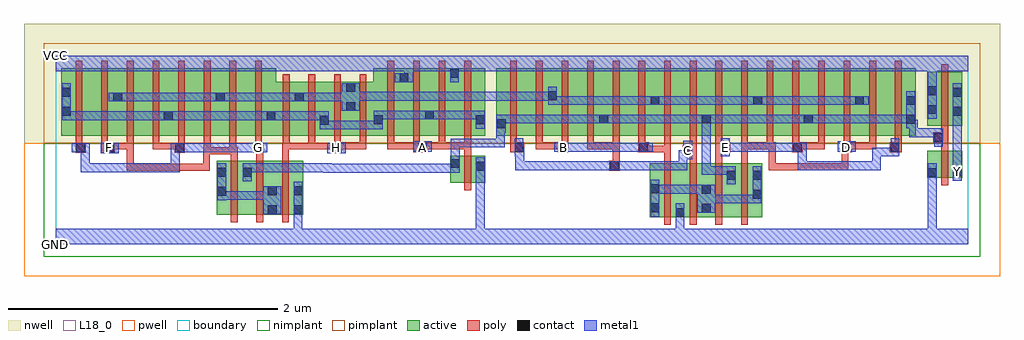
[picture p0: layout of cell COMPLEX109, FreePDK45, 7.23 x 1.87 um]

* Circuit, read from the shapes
.subckt COMPLEX109 A B C D E F G GND H VCC Y
M1 n1 F n2 VSUBS nfet w=0.4u l=0.05u
M2 n2 G n1 VSUBS nfet w=0.4u l=0.05u
M3 GND H n2 VSUBS nfet w=0.4u l=0.05u
M4 GND A n1 VSUBS nfet w=0.2u l=0.05u
M5 GND B n3 VSUBS nfet w=0.4u l=0.05u
M6 n3 C GND VSUBS nfet w=0.4u l=0.05u
M7 n1 E n3 VSUBS nfet w=0.4u l=0.05u
M8 n3 D n1 VSUBS nfet w=0.4u l=0.05u
M9 Y n1 GND VSUBS nfet w=0.2u l=0.05u
M10 n4 G n5 n6 pfet w=0.5u l=0.05u
M11 n7 F n4 n6 pfet w=0.5u l=0.05u
M12 n8 F n7 n6 pfet w=0.5u l=0.05u
M13 n5 G n8 n6 pfet w=0.5u l=0.05u
M14 n9 G n5 n6 pfet w=0.5u l=0.05u
M15 n7 F n9 n6 pfet w=0.5u l=0.05u
M16 n10 F n7 n6 pfet w=0.5u l=0.05u
M17 n5 G n10 n6 pfet w=0.5u l=0.05u
M18 n7 H n5 n6 pfet w=0.4u l=0.05u m=4
M19 VCC A n5 n6 pfet w=0.5u l=0.05u m=4
M20 n11 C n1 n6 pfet w=0.5u l=0.05u
M21 n7 B n11 n6 pfet w=0.5u l=0.05u
M22 n12 B n7 n6 pfet w=0.5u l=0.05u
M23 n1 C n12 n6 pfet w=0.5u l=0.05u
M24 n13 C n1 n6 pfet w=0.5u l=0.05u
M25 n7 B n13 n6 pfet w=0.5u l=0.05u
M26 n14 B n7 n6 pfet w=0.5u l=0.05u
M27 n1 C n14 n6 pfet w=0.5u l=0.05u
M28 n15 E n1 n6 pfet w=0.5u l=0.05u
M29 n7 D n15 n6 pfet w=0.5u l=0.05u
M30 n16 D n7 n6 pfet w=0.5u l=0.05u
M31 n1 E n16 n6 pfet w=0.5u l=0.05u
M32 n17 E n1 n6 pfet w=0.5u l=0.05u
M33 n7 D n17 n6 pfet w=0.5u l=0.05u
M34 n18 D n7 n6 pfet w=0.5u l=0.05u
M35 n1 E n18 n6 pfet w=0.5u l=0.05u
M36 Y n1 VCC n6 pfet w=0.4u l=0.05u
.ends

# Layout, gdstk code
import gdstk
lib = gdstk.Library(unit=1e-6, precision=1e-09)
def R(c, l, rs):  # rectangles x0, y0, x1, y1
    for r in rs: c.add(gdstk.rectangle(r[:2], r[2:], *l))
def A(c, l, x, y, w, h, nx, ny, dx, dy):  # array of equal rectangles
    R(c, l, [(x+i*dx, y+j*dy, x+i*dx+w, y+j*dy+h) for i in range(nx) for j in range(ny)])
active = (1, 0)
pwell = (2, 0)
nwell = (3, 0)
nimplant = (4, 0)
pimplant = (5, 0)
poly = (9, 0)
contact = (10, 0)
metal1 = (11, 0)
L18_0 = (18, 0)
boundary = (235, 0)

complex109 = lib.new_cell('COMPLEX109')
A(complex109, active, 3.262, 0.807, 0.225, 0.5, 6, 1, 0.38, 0)
A(complex109, active, 3.487, 0.807, 0.23, 0.5, 5, 1, 0.38, 0)
A(complex109, active, 3.642, 0.807, 0.075, 0.393, 3, 1, 0.76, 0)
A(complex109, active, 5.387, 0.807, 0.225, 0.5, 3, 1, 0.38, 0)
R(complex109, active, [(4.402,0.2,4.662,0.6), (4.587,0.2,4.857,0.6), (4.587,0.2,4.662,0.492), (4.782,0.2,5.042,0.6), (4.967,0.2,5.232,0.6), (1.192,0.22,1.457,0.62), (1.382,0.22,1.642,0.62), (1.567,0.22,1.832,0.62), (1.567,0.22,1.642,0.492), (1.757,0.22,1.832,0.62), (4.402,0.232,4.477,0.492), (4.782,0.232,4.857,0.492), (1.192,0.257,1.267,0.62), (5.157,0.257,5.232,0.6), (1.382,0.295,1.457,0.62), (4.967,0.295,5.042,0.6), (2.922,0.457,2.997,0.657), (2.922,0.457,3.182,0.657), (3.107,0.457,3.182,0.657), (6.455,0.495,6.53,0.695), (6.455,0.495,6.715,0.695), (6.64,0.495,6.715,0.695), (0.042,0.805,0.267,1.305), (0.042,0.805,0.147,1.2), (0.267,0.805,0.497,1.305), (0.422,0.805,0.647,1.305), (0.422,0.805,0.497,1.2), (0.647,0.805,0.872,1.305), (0.797,0.805,1.027,1.305), (0.797,0.805,0.872,1.07), (1.027,0.805,1.257,1.305), (1.182,0.805,1.407,1.305), (1.182,0.805,1.257,1.2), (1.407,0.805,1.632,1.305), (1.557,0.807,1.842,1.207), (1.767,0.807,2.027,1.207), (1.767,0.807,1.842,1.2), (1.952,0.807,2.222,1.207), (1.952,0.807,2.027,1.07), (2.147,0.807,2.222,1.2), (2.147,0.807,2.427,1.207), (2.352,0.807,2.427,1.07), (2.352,0.807,2.617,1.307), (2.542,0.807,2.807,1.307), (2.542,0.807,2.617,1.307), (2.732,0.807,2.807,1.07), (2.732,0.807,2.992,1.307), (2.917,0.807,3.182,1.307), (2.917,0.807,2.992,1.307), (3.107,0.807,3.182,1.07), (3.262,0.807,3.367,1.07), (4.022,0.807,4.097,1.07), (4.782,0.807,4.857,1.07), (5.537,0.807,5.767,1.307), (5.537,0.807,5.612,1.07), (5.917,0.807,5.992,1.2), (5.917,0.807,6.147,1.307), (6.297,0.807,6.372,1.2), (6.455,0.88,6.715,1.28), (6.455,0.88,6.53,1.28), (6.64,0.88,6.715,1.2), (1.557,0.907,1.632,1.07)])
R(complex109, pwell, [(-0.235,-0.235,6.995,0.75)])
R(complex109, nwell, [(-0.235,0.75,6.995,1.635)])
R(complex109, nimplant, [(-0.09,-0.09,6.85,0.75)])
R(complex109, pimplant, [(-0.09,0.75,6.85,1.49)])
A(complex109, poly, 4.507, 0.145, 0.05, 0.51, 4, 1, 0.19, 0)
A(complex109, poly, 1.297, 0.165, 0.05, 0.51, 3, 1, 0.19, 0)
A(complex109, poly, 0.147, 0.705, 0.05, 0.095, 5, 1, 0.19, 0)
A(complex109, poly, 2.457, 0.707, 0.05, 0.095, 4, 1, 0.19, 0)
A(complex109, poly, 3.367, 0.707, 0.05, 0.095, 6, 1, 0.19, 0)
A(complex109, poly, 4.887, 0.707, 0.05, 0.095, 8, 1, 0.19, 0)
A(complex109, poly, 0.147, 0.75, 0.05, 0.61, 8, 1, 0.19, 0)
A(complex109, poly, 1.682, 0.752, 0.05, 0.51, 4, 1, 0.19, 0)
A(complex109, poly, 2.457, 0.752, 0.05, 0.61, 4, 1, 0.19, 0)
A(complex109, poly, 3.367, 0.752, 0.05, 0.61, 16, 1, 0.19, 0)
R(complex109, poly, [(3.027,0.402,3.077,0.712), (6.56,0.44,6.61,0.75), (4.102,0.545,4.177,0.62), (0.527,0.547,0.577,0.597), (0.527,0.547,0.577,0.597), (0.527,0.547,0.577,0.597), (0.527,0.547,0.577,0.597), (0.527,0.547,0.577,0.597), (0.527,0.547,0.8,0.597), (0.527,0.547,0.577,0.755), (0.75,0.547,0.8,0.597), (0.75,0.547,0.932,0.597), (0.882,0.547,0.932,0.597), (0.882,0.547,0.932,0.597), (0.882,0.547,0.932,0.597), (0.882,0.547,1.142,0.597), (1.092,0.547,1.142,0.597), (1.092,0.547,1.142,0.597), (1.092,0.547,1.142,0.597), (1.092,0.547,1.142,0.597), (1.092,0.547,1.142,0.597), (1.092,0.547,1.142,0.72), (5.282,0.55,5.332,0.6), (5.282,0.55,5.4,0.6), (5.282,0.55,5.332,0.757), (5.35,0.55,5.4,0.6), (5.35,0.55,5.565,0.6), (5.515,0.55,5.565,0.6), (5.515,0.55,5.565,0.6), (5.515,0.55,5.565,0.6), (5.515,0.55,5.74,0.6), (5.69,0.55,5.74,0.6), (5.69,0.55,5.872,0.6), (5.822,0.55,5.872,0.6), (5.822,0.55,5.872,0.6), (5.822,0.55,5.872,0.6), (5.822,0.55,5.872,0.6), (5.822,0.55,5.872,0.6), (5.822,0.55,5.872,0.732), (4.127,0.57,4.177,0.62), (4.127,0.57,4.177,0.62), (4.127,0.57,4.177,0.757), (4.507,0.605,4.557,0.732), (4.697,0.605,4.747,0.712), (4.887,0.605,4.937,0.732), (5.077,0.605,5.127,0.757), (1.297,0.625,1.347,0.72), (1.487,0.625,1.537,0.73), (1.677,0.625,1.727,0.755), (3.027,0.662,3.077,0.757), (4.645,0.662,4.747,0.737), (1.092,0.67,1.147,0.72), (1.097,0.67,1.332,0.72), (1.097,0.67,1.147,0.8), (1.282,0.67,1.332,0.72), (1.282,0.67,1.332,0.72), (1.282,0.67,1.347,0.72), (1.287,0.67,1.337,0.8), (0.147,0.68,0.222,0.755), (0.337,0.68,0.437,0.755), (0.882,0.68,0.957,0.755), (1.462,0.68,1.537,0.755), (2.042,0.682,2.117,0.757), (2.647,0.682,2.755,0.757), (3.367,0.682,3.47,0.757), (3.722,0.682,3.797,0.757), (4.317,0.682,4.392,0.757), (4.342,0.682,4.392,0.732), (4.342,0.682,4.392,0.732), (4.342,0.682,4.557,0.732), (4.507,0.682,4.557,0.732), (4.507,0.682,4.557,0.802), (4.887,0.682,4.995,0.757), (5.457,0.682,5.532,0.757), (5.822,0.682,5.897,0.757), (6.18,0.682,6.267,0.757), (4.697,0.687,4.747,0.802), (6.56,0.7,6.61,0.805), (0.387,0.705,0.437,0.755), (0.387,0.705,0.437,0.755), (0.387,0.705,0.577,0.755), (0.527,0.705,0.577,0.755), (0.717,0.705,0.767,0.755), (0.717,0.705,0.767,0.755), (0.717,0.705,0.767,0.755), (0.717,0.705,0.932,0.755), (1.477,0.705,1.527,0.8), (1.677,0.705,1.732,0.755), (1.682,0.705,1.732,0.755), (1.682,0.705,1.732,0.755), (1.682,0.705,1.922,0.755), (1.682,0.705,1.732,0.802), (1.872,0.705,1.922,0.755), (1.872,0.705,1.922,0.755), (1.872,0.705,1.922,0.755), (1.872,0.705,2.092,0.755), (1.872,0.705,1.922,0.802), (2.062,0.707,2.112,0.802), (2.067,0.707,2.302,0.757), (2.252,0.707,2.302,0.802), (2.252,0.707,2.302,0.757), (2.252,0.707,2.302,0.757), (2.252,0.707,2.302,0.757), (2.457,0.707,2.507,0.757), (2.457,0.707,2.507,0.757), (2.457,0.707,2.507,0.757), (2.457,0.707,2.697,0.757), (2.705,0.707,2.887,0.757), (2.837,0.707,2.887,0.757), (2.837,0.707,2.887,0.757), (2.837,0.707,2.887,0.757), (2.837,0.707,3.077,0.757), (3.027,0.707,3.077,0.757), (3.027,0.707,3.077,0.757), (3.027,0.707,3.077,0.757), (3.557,0.707,3.607,0.757), (3.557,0.707,3.607,0.757), (3.557,0.707,3.607,0.757), (3.557,0.707,3.772,0.757), (3.937,0.707,3.987,0.757), (3.937,0.707,3.987,0.757), (3.937,0.707,3.987,0.757), (3.937,0.707,4.177,0.757), (4.127,0.707,4.177,0.757), (5.077,0.707,5.127,0.757), (5.077,0.707,5.127,0.757), (5.077,0.707,5.127,0.757), (5.077,0.707,5.317,0.757), (5.267,0.707,5.332,0.757), (5.282,0.707,5.332,0.757), (5.282,0.707,5.332,0.757), (5.482,0.707,5.532,0.757), (5.482,0.707,5.532,0.757), (5.482,0.707,5.697,0.757), (5.647,0.707,5.697,0.757), (5.847,0.707,6.077,0.757), (6.027,0.707,6.077,0.757), (6.027,0.707,6.077,0.757), (6.027,0.707,6.077,0.757), (6.502,0.755,6.61,0.83), (6.56,0.78,6.61,0.875), (6.56,0.825,6.61,1.335)])
R(complex109, contact, [(4.592,0.205,4.657,0.27), (1.572,0.225,1.637,0.29), (1.762,0.225,1.827,0.29), (4.787,0.237,4.852,0.302), (4.407,0.24,4.472,0.305), (5.162,0.34,5.227,0.405), (1.197,0.362,1.262,0.427), (1.572,0.365,1.637,0.43), (1.762,0.365,1.827,0.43), (4.787,0.377,4.852,0.442), (4.407,0.38,4.472,0.445), (4.972,0.48,5.037,0.545), (5.162,0.48,5.227,0.545), (6.46,0.5,6.525,0.565), (1.197,0.502,1.262,0.567), (1.387,0.502,1.452,0.567), (6.645,0.507,6.71,0.572), (3.112,0.547,3.177,0.612), (4.107,0.55,4.172,0.615), (2.927,0.567,2.992,0.632), (4.65,0.667,4.715,0.732), (0.152,0.685,0.217,0.75), (0.367,0.685,0.432,0.75), (0.887,0.685,0.952,0.75), (1.467,0.685,1.532,0.75), (2.047,0.687,2.112,0.752), (2.685,0.687,2.75,0.752), (3.4,0.687,3.465,0.752), (3.727,0.687,3.792,0.752), (4.322,0.687,4.387,0.752), (4.925,0.687,4.99,0.752), (5.462,0.687,5.527,0.752), (5.827,0.687,5.892,0.752), (6.185,0.687,6.25,0.752), (6.507,0.76,6.572,0.825), (3.267,0.862,3.332,0.927), (1.957,0.887,2.022,0.952), (2.357,0.892,2.422,0.957), (3.112,0.892,3.177,0.957), (6.302,0.895,6.367,0.96), (4.027,0.897,4.092,0.962), (4.787,0.897,4.852,0.962), (5.542,0.897,5.607,0.962), (0.802,0.922,0.867,0.987), (1.562,0.922,1.627,0.987), (2.737,0.927,2.802,0.992), (0.047,0.955,0.112,1.02), (6.645,0.955,6.71,1.02), (6.46,0.967,6.525,1.032), (2.152,0.99,2.217,1.055), (4.407,1.035,4.472,1.1), (5.167,1.035,5.232,1.1), (5.922,1.035,5.987,1.1), (6.302,1.035,6.367,1.1), (0.427,1.06,0.492,1.125), (1.187,1.06,1.252,1.125), (1.772,1.06,1.837,1.125), (3.647,1.07,3.712,1.135), (0.047,1.095,0.112,1.16), (6.645,1.095,6.71,1.16), (6.46,1.107,6.525,1.172), (2.152,1.13,2.217,1.195), (2.547,1.202,2.612,1.267), (2.922,1.237,2.987,1.302)])
R(complex109, metal1, [(0,0,6.76,0.115), (1.762,0.05,1.827,0.115), (1.762,0.05,1.827,0.115), (1.762,0.05,1.827,0.255), (3.112,0.05,3.177,0.115), (3.112,0.05,3.177,0.115), (3.112,0.05,3.177,0.115), (3.112,0.05,3.177,0.115), (3.112,0.05,3.177,0.115), (3.112,0.05,3.177,0.115), (3.112,0.05,3.177,0.577), (4.592,0.05,4.657,0.235), (6.46,0.05,6.525,0.115), (6.46,0.05,6.525,0.115), (6.46,0.05,6.525,0.115), (6.46,0.05,6.525,0.115), (6.46,0.05,6.525,0.115), (6.46,0.05,6.525,0.115), (6.46,0.05,6.525,0.53), (4.592,0.17,4.657,0.235), (4.592,0.17,4.657,0.235), (4.592,0.17,4.657,0.305), (1.762,0.19,1.827,0.465), (4.407,0.205,4.472,0.48), (1.537,0.225,1.672,0.43), (4.752,0.237,4.887,0.442), (4.822,0.305,4.992,0.37), (4.927,0.305,4.992,0.37), (4.927,0.305,5.025,0.37), (4.96,0.305,5.025,0.37), (4.96,0.305,5.13,0.37), (5.065,0.305,5.13,0.37), (5.065,0.305,5.227,0.37), (5.162,0.305,5.227,0.58), (1.197,0.327,1.262,0.602), (1.197,0.33,1.262,0.395), (1.197,0.33,1.262,0.395), (1.197,0.33,1.455,0.395), (1.39,0.33,1.455,0.395), (1.39,0.33,1.455,0.395), (1.39,0.33,1.455,0.395), (1.39,0.33,1.602,0.395), (4.407,0.377,4.575,0.442), (4.51,0.377,4.575,0.442), (4.51,0.377,4.68,0.442), (4.615,0.377,4.68,0.442), (4.615,0.377,4.755,0.442), (4.69,0.377,4.755,0.442), (4.69,0.377,4.817,0.442), (4.972,0.445,5.037,0.58), (6.46,0.465,6.525,0.6), (1.387,0.467,1.452,0.602), (6.645,0.472,6.712,0.607), (3.112,0.512,3.177,0.647), (4.787,0.515,4.852,0.58), (4.787,0.515,4.992,0.58), (4.787,0.515,4.852,0.962), (4.927,0.515,4.992,0.58), (4.927,0.515,5.037,0.58), (1.98,0.532,2.182,0.597), (1.98,0.532,2.045,0.602), (2.117,0.532,2.182,0.597), (2.117,0.532,2.182,0.597), (2.117,0.532,2.182,0.597), (2.117,0.532,2.39,0.597), (2.325,0.532,2.39,0.597), (2.325,0.532,2.39,0.597), (2.325,0.532,2.39,0.597), (2.325,0.532,2.56,0.597), (2.495,0.532,2.56,0.597), (2.495,0.532,2.56,0.597), (2.495,0.532,2.56,0.597), (2.495,0.532,2.7,0.597), (2.635,0.532,2.7,0.597), (2.635,0.532,2.7,0.597), (2.635,0.532,2.7,0.597), (2.635,0.532,2.992,0.597), (2.927,0.532,2.992,0.597), (2.927,0.532,2.992,0.597), (2.927,0.532,2.992,0.597), (2.927,0.532,2.992,0.597), (2.927,0.532,2.992,0.667), (0.187,0.537,0.252,0.602), (0.187,0.537,0.39,0.602), (0.187,0.537,0.252,0.75), (0.325,0.537,0.39,0.602), (0.325,0.537,0.527,0.602), (0.462,0.537,0.527,0.602), (0.462,0.537,0.527,0.602), (0.462,0.537,0.527,0.602), (0.462,0.537,0.665,0.602), (0.6,0.537,0.665,0.602), (0.6,0.537,0.665,0.602), (0.6,0.537,0.665,0.602), (0.6,0.537,0.917,0.602), (0.852,0.537,0.917,0.602), (0.852,0.537,0.917,0.75), (1.387,0.537,1.452,0.602), (1.387,0.537,1.452,0.602), (1.387,0.537,1.665,0.602), (1.6,0.537,1.665,0.602), (1.6,0.537,1.665,0.602), (1.6,0.537,1.665,0.602), (1.6,0.537,1.885,0.602), (1.82,0.537,1.885,0.602), (1.82,0.537,1.885,0.602), (1.82,0.537,1.885,0.602), (1.82,0.537,2.045,0.602), (6.645,0.542,6.71,0.985), (6.645,0.542,6.71,0.607), (6.645,0.542,6.71,0.607), (3.405,0.55,3.47,0.615), (3.405,0.55,3.47,0.717), (3.405,0.55,3.607,0.615), (3.542,0.55,3.607,0.615), (3.542,0.55,3.712,0.615), (3.647,0.55,3.712,0.615), (3.647,0.55,3.712,0.615), (3.647,0.55,3.712,0.615), (3.647,0.55,3.745,0.615), (3.68,0.55,3.745,0.615), (3.68,0.55,3.85,0.615), (3.785,0.55,3.85,0.615), (3.785,0.55,3.965,0.615), (3.9,0.55,3.965,0.615), (3.9,0.55,4.137,0.615), (4.072,0.55,4.137,0.615), (4.072,0.55,4.137,0.615), (4.072,0.55,4.207,0.615), (4.142,0.55,4.275,0.615), (4.21,0.55,4.275,0.615), (4.21,0.55,4.275,0.615), (4.21,0.55,4.275,0.615), (4.21,0.55,4.37,0.615), (4.305,0.55,4.37,0.615), (4.305,0.55,4.412,0.615), (4.347,0.55,4.412,0.615), (4.347,0.55,4.575,0.615), (4.51,0.55,4.575,0.615), (4.51,0.55,4.68,0.615), (4.615,0.55,4.68,0.615), (4.615,0.55,4.68,0.697), (5.497,0.55,5.562,0.615), (5.497,0.55,5.72,0.615), (5.497,0.55,5.562,0.752), (5.655,0.55,5.72,0.615), (5.655,0.55,5.78,0.615), (5.715,0.55,5.78,0.615), (5.715,0.55,5.975,0.615), (5.91,0.55,5.975,0.615), (5.91,0.55,5.975,0.615), (5.91,0.55,5.975,0.615), (5.91,0.55,6.112,0.615), (6.047,0.55,6.112,0.615), (6.047,0.55,6.112,0.615), (6.047,0.55,6.112,0.615), (6.047,0.55,6.112,0.717), (2.927,0.602,2.992,0.785), (4.615,0.632,4.68,0.697), (4.615,0.632,4.712,0.697), (4.647,0.632,4.715,0.767), (3.4,0.652,3.465,0.787), (3.4,0.652,3.47,0.717), (3.405,0.652,3.47,0.717), (4.925,0.652,4.992,0.787), (6.047,0.652,6.112,0.717), (6.047,0.652,6.25,0.717), (6.185,0.652,6.25,0.787), (0.332,0.675,0.467,0.752), (2.012,0.675,2.147,0.752), (0.117,0.685,0.252,0.75), (0.187,0.685,0.252,0.75), (0.187,0.685,0.252,0.75), (0.852,0.685,0.917,0.75), (0.852,0.685,0.917,0.75), (0.852,0.685,0.987,0.75), (0.922,0.685,1.08,0.75), (1.015,0.685,1.08,0.75), (1.015,0.685,1.125,0.75), (1.06,0.685,1.125,0.75), (1.06,0.685,1.315,0.75), (1.25,0.685,1.315,0.75), (1.25,0.685,1.315,0.75), (1.25,0.685,1.315,0.75), (1.25,0.685,1.455,0.75), (1.39,0.685,1.455,0.75), (1.39,0.685,1.497,0.75), (1.432,0.685,1.567,0.752), (2.65,0.687,2.787,0.765), (3.692,0.687,3.827,0.752), (3.762,0.687,3.85,0.752), (3.785,0.687,3.85,0.752), (3.785,0.687,3.99,0.752), (3.925,0.687,3.99,0.752), (3.925,0.687,3.99,0.752), (3.925,0.687,3.99,0.752), (3.925,0.687,4.127,0.752), (4.062,0.687,4.127,0.752), (4.062,0.687,4.275,0.752), (4.21,0.687,4.275,0.752), (4.21,0.687,4.352,0.752), (4.287,0.687,4.422,0.752), (4.927,0.687,5.025,0.752), (4.96,0.687,5.025,0.752), (4.96,0.687,5.13,0.752), (5.065,0.687,5.13,0.752), (5.065,0.687,5.267,0.752), (5.202,0.687,5.267,0.752), (5.202,0.687,5.267,0.752), (5.202,0.687,5.267,0.752), (5.202,0.687,5.405,0.752), (5.34,0.687,5.405,0.752), (5.34,0.687,5.492,0.752), (5.427,0.687,5.562,0.752), (5.497,0.687,5.562,0.752), (5.497,0.687,5.562,0.752), (5.792,0.687,5.927,0.765), (2.927,0.72,2.992,0.785), (2.927,0.72,3.13,0.785), (3.065,0.72,3.13,0.785), (3.065,0.72,3.13,0.785), (3.065,0.72,3.13,0.785), (3.065,0.72,3.327,0.785), (3.262,0.72,3.327,0.785), (3.262,0.72,3.327,0.785), (3.262,0.72,3.327,0.785), (3.262,0.72,3.327,0.892), (6.507,0.725,6.572,0.86), (6.322,0.795,6.387,0.86), (6.322,0.795,6.572,0.86), (6.322,0.795,6.387,0.925), (6.507,0.795,6.572,0.86), (6.507,0.795,6.572,0.86), (3.262,0.827,3.332,0.962), (1.957,0.852,2.022,0.987), (1.957,0.852,2.252,0.917), (2.187,0.852,2.252,0.917), (2.187,0.852,2.252,0.917), (2.187,0.852,2.252,0.917), (2.187,0.852,2.422,0.917), (2.357,0.852,2.422,0.922), (2.357,0.857,2.422,0.922), (2.357,0.857,2.422,0.992), (3.112,0.857,3.177,0.992), (6.302,0.86,6.367,1.135), (6.302,0.86,6.367,0.925), (6.302,0.86,6.387,0.925), (3.267,0.897,3.332,0.962), (3.267,0.897,3.332,0.962), (3.267,0.897,3.452,0.962), (3.387,0.897,3.452,0.962), (3.387,0.897,3.47,0.962), (3.405,0.897,3.47,0.962), (3.405,0.897,3.607,0.962), (3.542,0.897,3.607,0.962), (3.542,0.897,3.69,0.962), (3.625,0.897,3.69,0.962), (3.625,0.897,3.745,0.962), (3.68,0.897,3.745,0.962), (3.68,0.897,3.85,0.962), (3.785,0.897,3.85,0.962), (3.785,0.897,3.965,0.962), (3.9,0.897,3.965,0.962), (3.9,0.897,4.057,0.962), (3.992,0.897,4.127,0.962), (4.062,0.897,4.127,0.962), (4.062,0.897,4.127,0.962), (4.062,0.897,4.275,0.962), (4.21,0.897,4.275,0.962), (4.21,0.897,4.412,0.962), (4.347,0.897,4.412,0.962), (4.347,0.897,4.412,0.962), (4.347,0.897,4.412,0.962), (4.347,0.897,4.575,0.962), (4.51,0.897,4.575,0.962), (4.51,0.897,4.645,0.962), (4.58,0.897,4.645,0.962), (4.58,0.897,4.817,0.962), (4.752,0.897,4.817,0.962), (4.752,0.897,4.817,0.962), (4.752,0.897,4.887,0.962), (4.787,0.897,4.852,0.962), (4.787,0.897,4.852,0.962), (4.787,0.897,4.852,0.962), (4.787,0.897,4.852,0.962), (4.822,0.897,4.955,0.962), (4.89,0.897,4.955,0.962), (4.89,0.897,5.025,0.962), (4.96,0.897,5.025,0.962), (4.96,0.897,5.13,0.962), (5.065,0.897,5.13,0.962), (5.065,0.897,5.267,0.962), (5.202,0.897,5.267,0.962), (5.202,0.897,5.267,0.962), (5.202,0.897,5.267,0.962), (5.202,0.897,5.405,0.962), (5.34,0.897,5.405,0.962), (5.34,0.897,5.405,0.962), (5.34,0.897,5.405,0.962), (5.34,0.897,5.572,0.962), (5.507,0.897,5.642,0.962), (5.577,0.897,5.72,0.962), (5.655,0.897,5.72,0.962), (5.655,0.897,5.815,0.962), (5.75,0.897,5.815,0.962), (5.75,0.897,5.952,0.962), (5.887,0.897,5.952,0.962), (5.887,0.897,5.952,0.962), (5.887,0.897,5.952,0.962), (5.887,0.897,6.112,0.962), (6.047,0.897,6.112,0.962), (6.047,0.897,6.112,0.962), (6.047,0.897,6.112,0.962), (6.047,0.897,6.367,0.962), (6.302,0.897,6.367,0.962), (6.302,0.897,6.367,0.962), (0.047,0.92,0.112,1.195), (6.645,0.92,6.71,1.195), (0.047,0.922,0.112,0.987), (0.047,0.922,0.112,0.987), (0.047,0.922,0.25,0.987), (0.185,0.922,0.25,0.987), (0.185,0.922,0.39,0.987), (0.325,0.922,0.39,0.987), (0.325,0.922,0.39,0.987), (0.325,0.922,0.39,0.987), (0.325,0.922,0.527,0.987), (0.462,0.922,0.527,0.987), (0.462,0.922,0.665,0.987), (0.6,0.922,0.665,0.987), (0.6,0.922,0.765,0.987), (0.7,0.922,0.765,0.987), (0.7,0.922,0.832,0.987), (0.767,0.922,0.902,0.987), (0.837,0.922,0.902,0.987), (0.837,0.922,0.902,0.987), (0.837,0.922,1.08,0.987), (1.015,0.922,1.08,0.987), (1.015,0.922,1.125,0.987), (1.06,0.922,1.125,0.987), (1.06,0.922,1.315,0.987), (1.25,0.922,1.315,0.987), (1.25,0.922,1.315,0.987), (1.25,0.922,1.315,0.987), (1.25,0.922,1.455,0.987), (1.39,0.922,1.455,0.987), (1.39,0.922,1.455,0.987), (1.39,0.922,1.455,0.987), (1.39,0.922,1.592,0.987), (1.527,0.922,1.662,0.987), (1.597,0.922,1.662,0.987), (1.597,0.922,1.662,0.987), (1.597,0.922,1.885,0.987), (1.82,0.922,1.885,0.987), (1.82,0.922,1.885,0.987), (1.82,0.922,1.885,0.987), (1.82,0.922,2.022,0.987), (2.357,0.927,2.56,0.992), (2.495,0.927,2.56,0.992), (2.495,0.927,2.56,0.992), (2.495,0.927,2.56,0.992), (2.495,0.927,2.697,0.992), (2.632,0.927,2.697,0.992), (2.632,0.927,2.767,0.992), (2.702,0.927,2.837,0.992), (2.772,0.927,2.837,0.992), (2.772,0.927,2.837,0.992), (2.772,0.927,2.975,0.992), (2.91,0.927,2.975,0.992), (2.91,0.927,3.177,0.992), (3.112,0.927,3.177,0.992), (3.112,0.927,3.177,0.992), (6.46,0.932,6.525,1.207), (2.117,0.99,2.252,1.195), (3.647,1.035,3.712,1.17), (3.647,1.035,3.827,1.1), (3.762,1.035,3.827,1.1), (3.762,1.035,3.85,1.1), (3.785,1.035,3.85,1.1), (3.785,1.035,3.99,1.1), (3.925,1.035,3.99,1.1), (3.925,1.035,3.99,1.1), (3.925,1.035,3.99,1.1), (3.925,1.035,4.127,1.1), (4.062,1.035,4.127,1.1), (4.062,1.035,4.275,1.1), (4.21,1.035,4.275,1.1), (4.21,1.035,4.437,1.1), (4.372,1.035,4.437,1.1), (4.372,1.035,4.437,1.1), (4.372,1.035,4.507,1.1), (4.442,1.035,4.575,1.1), (4.51,1.035,4.575,1.1), (4.51,1.035,4.68,1.1), (4.615,1.035,4.68,1.1), (4.615,1.035,4.817,1.1), (4.752,1.035,4.817,1.1), (4.752,1.035,4.817,1.1), (4.752,1.035,4.817,1.1), (4.752,1.035,4.992,1.1), (4.927,1.035,4.992,1.1), (4.927,1.035,5.025,1.1), (4.96,1.035,5.025,1.1), (4.96,1.035,5.13,1.1), (5.065,1.035,5.13,1.1), (5.065,1.035,5.197,1.1), (5.132,1.035,5.267,1.1), (5.202,1.035,5.267,1.1), (5.202,1.035,5.267,1.1), (5.202,1.035,5.425,1.1), (5.36,1.035,5.425,1.1), (5.36,1.035,5.425,1.1), (5.36,1.035,5.425,1.1), (5.36,1.035,5.582,1.1), (5.517,1.035,5.582,1.1), (5.517,1.035,5.7,1.1), (5.635,1.035,5.7,1.1), (5.635,1.035,5.815,1.1), (5.75,1.035,5.815,1.1), (5.75,1.035,5.952,1.1), (5.887,1.035,5.952,1.1), (5.887,1.035,5.952,1.1), (5.887,1.035,6.022,1.1), (0.392,1.06,0.527,1.125), (0.462,1.06,0.527,1.125), (0.462,1.06,0.527,1.125), (0.462,1.06,0.695,1.125), (0.63,1.06,0.695,1.125), (0.63,1.06,0.695,1.125), (0.63,1.06,0.695,1.125), (0.63,1.06,0.942,1.125), (0.877,1.06,0.942,1.125), (0.877,1.06,0.942,1.125), (0.877,1.06,0.942,1.125), (0.877,1.06,1.08,1.125), (1.015,1.06,1.08,1.125), (1.015,1.06,1.125,1.125), (1.06,1.06,1.125,1.125), (1.06,1.06,1.217,1.125), (1.152,1.06,1.287,1.125), (1.222,1.06,1.287,1.125), (1.222,1.06,1.287,1.125), (1.222,1.06,1.455,1.125), (1.39,1.06,1.455,1.125), (1.39,1.06,1.455,1.125), (1.39,1.06,1.455,1.125), (1.39,1.06,1.592,1.125), (1.527,1.06,1.592,1.125), (1.527,1.06,1.592,1.125), (1.527,1.06,1.592,1.125), (1.527,1.06,1.802,1.125), (1.737,1.06,1.872,1.125), (1.807,1.06,1.872,1.125), (1.807,1.06,1.872,1.125), (1.807,1.06,2.045,1.125), (1.98,1.06,2.045,1.125), (1.98,1.06,2.182,1.125), (2.117,1.06,2.182,1.125), (2.117,1.06,2.182,1.125), (2.187,1.065,2.39,1.13), (2.325,1.065,2.39,1.13), (2.325,1.065,2.39,1.13), (2.325,1.065,2.39,1.13), (2.325,1.065,2.56,1.13), (2.495,1.065,2.56,1.13), (2.495,1.065,2.56,1.13), (2.495,1.065,2.56,1.13), (2.495,1.065,2.697,1.13), (2.632,1.065,2.697,1.13), (2.632,1.065,2.697,1.13), (2.632,1.065,2.697,1.13), (2.632,1.065,2.992,1.13), (2.927,1.065,2.992,1.13), (2.927,1.065,2.992,1.13), (2.927,1.065,2.992,1.13), (2.927,1.065,3.177,1.13), (3.112,1.065,3.177,1.13), (3.112,1.065,3.315,1.13), (3.25,1.065,3.315,1.13), (3.25,1.065,3.315,1.13), (3.25,1.065,3.315,1.13), (3.25,1.065,3.47,1.13), (3.405,1.065,3.47,1.13), (3.405,1.065,3.47,1.13), (3.405,1.065,3.47,1.13), (3.405,1.065,3.607,1.13), (3.542,1.065,3.607,1.13), (3.542,1.065,3.712,1.13), (6.46,1.142,6.525,1.35), (2.512,1.202,2.647,1.267), (2.582,1.202,2.647,1.35), (2.922,1.202,2.987,1.337), (2.922,1.272,2.987,1.35), (0,1.285,6.76,1.4)])
R(complex109, L18_0, [(0,0,6.76,0.115), (1.762,0.05,1.827,0.115), (1.762,0.05,1.827,0.115), (1.762,0.05,1.827,0.255), (3.112,0.05,3.177,0.115), (3.112,0.05,3.177,0.115), (3.112,0.05,3.177,0.115), (3.112,0.05,3.177,0.115), (3.112,0.05,3.177,0.115), (3.112,0.05,3.177,0.115), (3.112,0.05,3.177,0.577), (4.592,0.05,4.657,0.235), (6.46,0.05,6.525,0.115), (6.46,0.05,6.525,0.115), (6.46,0.05,6.525,0.115), (6.46,0.05,6.525,0.115), (6.46,0.05,6.525,0.115), (6.46,0.05,6.525,0.115), (6.46,0.05,6.525,0.53), (4.592,0.17,4.657,0.235), (4.592,0.17,4.657,0.235), (4.592,0.17,4.657,0.305), (1.762,0.19,1.827,0.465), (6.46,0.465,6.525,0.6), (6.645,0.472,6.712,0.607), (6.647,0.507,6.712,0.572), (3.112,0.512,3.177,0.647), (0.187,0.537,0.252,0.602), (0.187,0.537,0.252,0.75), (0.187,0.537,0.39,0.602), (0.325,0.537,0.39,0.602), (0.325,0.537,0.527,0.602), (0.462,0.537,0.527,0.602), (0.462,0.537,0.527,0.602), (0.462,0.537,0.527,0.602), (0.462,0.537,0.665,0.602), (0.6,0.537,0.665,0.602), (0.6,0.537,0.665,0.602), (0.6,0.537,0.665,0.602), (0.6,0.537,0.917,0.602), (0.852,0.537,0.917,0.602), (0.852,0.537,0.917,0.75), (6.645,0.542,6.71,0.607), (6.645,0.542,6.71,0.607), (6.645,0.542,6.71,0.985), (3.405,0.55,3.47,0.615), (3.405,0.55,3.607,0.615), (3.405,0.55,3.47,0.717), (3.542,0.55,3.607,0.615), (3.542,0.55,3.712,0.615), (3.647,0.55,3.712,0.615), (3.647,0.55,3.712,0.615), (3.647,0.55,3.712,0.615), (3.647,0.55,3.745,0.615), (3.68,0.55,3.745,0.615), (3.68,0.55,3.85,0.615), (3.785,0.55,3.85,0.615), (3.785,0.55,3.965,0.615), (3.9,0.55,3.965,0.615), (3.9,0.55,4.137,0.615), (4.072,0.55,4.207,0.615), (4.072,0.55,4.137,0.615), (4.072,0.55,4.137,0.615), (4.142,0.55,4.275,0.615), (4.21,0.55,4.275,0.615), (4.21,0.55,4.275,0.615), (4.21,0.55,4.275,0.615), (4.21,0.55,4.37,0.615), (4.305,0.55,4.37,0.615), (4.305,0.55,4.412,0.615), (4.347,0.55,4.412,0.615), (4.347,0.55,4.575,0.615), (4.51,0.55,4.575,0.615), (4.51,0.55,4.68,0.615), (4.615,0.55,4.68,0.615), (4.615,0.55,4.68,0.697), (5.497,0.55,5.562,0.615), (5.497,0.55,5.562,0.752), (5.497,0.55,5.72,0.615), (5.655,0.55,5.72,0.615), (5.655,0.55,5.78,0.615), (5.715,0.55,5.78,0.615), (5.715,0.55,5.975,0.615), (5.91,0.55,5.975,0.615), (5.91,0.55,5.975,0.615), (5.91,0.55,5.975,0.615), (5.91,0.55,6.112,0.615), (6.047,0.55,6.112,0.615), (6.047,0.55,6.112,0.615), (6.047,0.55,6.112,0.615), (6.047,0.55,6.112,0.717), (4.615,0.632,4.68,0.697), (4.615,0.632,4.712,0.697), (4.647,0.632,4.715,0.767), (3.4,0.652,3.465,0.787), (3.4,0.652,3.47,0.717), (3.405,0.652,3.47,0.717), (4.925,0.652,4.992,0.787), (6.047,0.652,6.112,0.717), (6.047,0.652,6.25,0.717), (6.185,0.652,6.25,0.787), (4.647,0.667,4.712,0.732), (0.332,0.675,0.467,0.752), (2.012,0.675,2.147,0.752), (0.117,0.685,0.252,0.75), (0.187,0.685,0.252,0.75), (0.187,0.685,0.252,0.75), (0.852,0.685,0.987,0.75), (0.852,0.685,0.917,0.75), (0.852,0.685,0.917,0.75), (0.922,0.685,1.08,0.75), (1.015,0.685,1.08,0.75), (1.015,0.685,1.125,0.75), (1.06,0.685,1.125,0.75), (1.06,0.685,1.315,0.75), (1.25,0.685,1.315,0.75), (1.25,0.685,1.315,0.75), (1.25,0.685,1.315,0.75), (1.25,0.685,1.455,0.75), (1.39,0.685,1.455,0.75), (1.39,0.685,1.497,0.75), (1.432,0.685,1.567,0.752), (0.367,0.687,0.432,0.752), (1.467,0.687,1.532,0.752), (2.047,0.687,2.112,0.752), (2.65,0.687,2.787,0.765), (2.687,0.687,2.752,0.752), (3.692,0.687,3.827,0.752), (3.727,0.687,3.792,0.752), (3.762,0.687,3.85,0.752), (3.785,0.687,3.85,0.752), (3.785,0.687,3.99,0.752), (3.925,0.687,3.99,0.752), (3.925,0.687,3.99,0.752), (3.925,0.687,3.99,0.752), (3.925,0.687,4.127,0.752), (4.062,0.687,4.127,0.752), (4.062,0.687,4.275,0.752), (4.21,0.687,4.275,0.752), (4.21,0.687,4.352,0.752), (4.287,0.687,4.422,0.752), (4.927,0.687,4.992,0.752), (4.927,0.687,5.025,0.752), (4.96,0.687,5.025,0.752), (4.96,0.687,5.13,0.752), (5.065,0.687,5.13,0.752), (5.065,0.687,5.267,0.752), (5.202,0.687,5.267,0.752), (5.202,0.687,5.267,0.752), (5.202,0.687,5.267,0.752), (5.202,0.687,5.405,0.752), (5.34,0.687,5.405,0.752), (5.34,0.687,5.492,0.752), (5.427,0.687,5.562,0.752), (5.497,0.687,5.562,0.752), (5.497,0.687,5.562,0.752), (5.792,0.687,5.927,0.765), (5.827,0.687,5.892,0.752), (6.645,0.92,6.71,1.195), (6.46,0.932,6.525,1.207), (6.46,1.142,6.525,1.35), (2.512,1.202,2.647,1.267), (2.582,1.202,2.647,1.35), (2.922,1.202,2.987,1.337), (2.922,1.272,2.987,1.35), (0,1.285,6.76,1.4)])
R(complex109, boundary, [(0,0,6.76,1.4)])
complex109.add(gdstk.Label('A', (2.72,0.72), layer=11, texttype=0))
complex109.add(gdstk.Label('B', (3.76,0.72), layer=11, texttype=0))
complex109.add(gdstk.Label('C', (4.68,0.7), layer=11, texttype=0))
complex109.add(gdstk.Label('D', (5.86,0.72), layer=11, texttype=0))
complex109.add(gdstk.Label('E', (4.96,0.72), layer=11, texttype=0))
complex109.add(gdstk.Label('F', (0.4,0.72), layer=11, texttype=0))
complex109.add(gdstk.Label('G', (1.5,0.72), layer=11, texttype=0))
complex109.add(gdstk.Label('H', (2.08,0.72), layer=11, texttype=0))
complex109.add(gdstk.Label('Y', (6.68,0.54), layer=11, texttype=0))
complex109.add(gdstk.Label('VCC', (0,1.4), layer=11, texttype=0))
complex109.add(gdstk.Label('GND', (0,0), layer=11, texttype=0))

lib.write_gds('COMPLEX109.gds')
